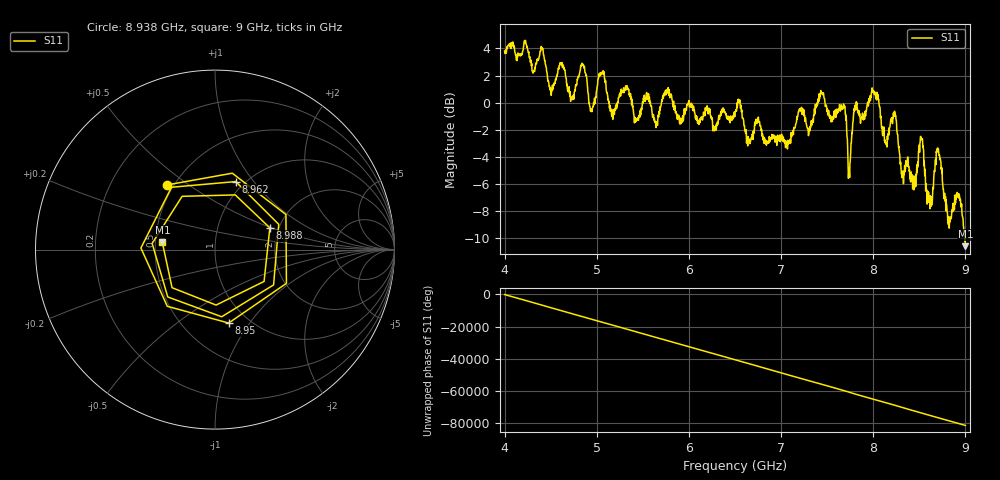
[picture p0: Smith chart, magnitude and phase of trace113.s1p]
! Created with skrf 1.8.0 (http://scikit-rf.org).
# Hz S RI R 50.0
!freq ReS11 ImS11
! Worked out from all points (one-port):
!   1601 points, 4 GHz to 9 GHz, reference 50 ohm
!   lowest |S11| = -10.6 dB at 9 GHz (marker M1), VSWR 1.84, Z = 27.2 + j2.4 ohm
!   |S11| at or under -10 dB: 8.9927 GHz to 8.996009 GHz (3.309 MHz wide, 0.0368 % of centre); 8.997443 GHz to end of sweep
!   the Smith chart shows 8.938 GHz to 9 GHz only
!   S11 on the Smith chart (normalised r, x): 8.938 GHz: 0.46, +0.41; 8.95 GHz: 0.81, -0.80; 8.962 GHz: 0.91, +0.82; 8.988 GHz: 1.80, +0.49; 9 GHz: 0.54, +0.05
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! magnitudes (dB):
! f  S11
! 4 GHz  3.8
! 4.406 GHz  4.1
! 4.509 GHz  0.8
! 4.625 GHz  3.0
! 4.728 GHz  0.4
! 4.844 GHz  2.8
! 4.938 GHz  -0.6
! 5.053 GHz  2.1
! 5.162 GHz  -1.0
! 5.25 GHz  0.5
! 5.875 GHz  -1.2
! 6.5 GHz  -0.7
! 7.125 GHz  -2.2
! 7.447 GHz  0.7
! 7.675 GHz  -0.4
! 7.75 GHz  -4.4
! 7.803 GHz  -0.3
! 8 GHz  0.9
! 8.375 GHz  -4.0
! 8.522 GHz  -2.7
! 8.619 GHz  -6.9
! 8.709 GHz  -3.6
! 8.825 GHz  -9.2
! 8.938 GHz  -6.9
! 8.95 GHz  -7.6
! 8.962 GHz  -8.0
! 8.988 GHz  -9.7
! 9 GHz  -10.6
